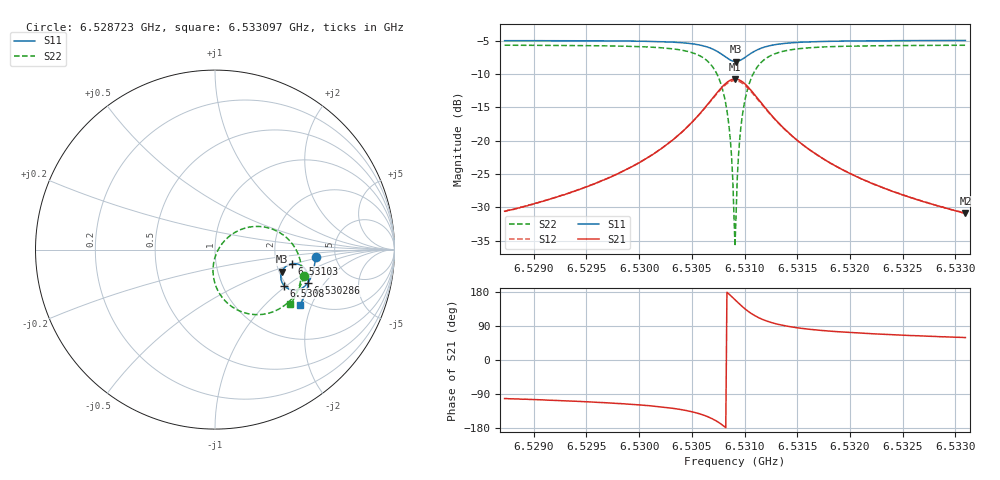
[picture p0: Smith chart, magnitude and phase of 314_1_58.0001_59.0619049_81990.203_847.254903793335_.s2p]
#  HZ  S  RI  R  50.00
! Rohde & Schwarz Vector Network Analyzer
! Rohde-Schwarz,ZNB20-2Port,1311601062101988,3.16
! Created: UTC 3/21/2024, 1:04:18 AM
! freq[Hz]  re:S11  im:S11  re:S21  im:S21  re:S12  im:S12  re:S22  im:S22
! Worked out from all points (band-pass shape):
!   401 points, 6.528723 GHz to 6.533097 GHz, reference 50 ohm
!   highest |S21| = -10.76 dB at 6.53091 GHz (marker M1); lowest = -30.8 dB at 6.533097 GHz (marker M2)
!   |S21| within 3 dB of the highest: 6.530691 GHz to 6.531129 GHz (438.1 kHz wide, 0.00671 % of centre)
!   lowest |S11| = -8.1 dB at 6.530921 GHz (marker M3), VSWR 2.29, Z = 103 - j30.1 ohm
!   |S11| at or under -10 dB: nowhere
!   |S22| runs from -35.8 to -5.7 dB; largest |S21 - S12| = 0.011
!   S11 on the Smith chart (normalised r, x): 6.528723 GHz: 3.50, -0.44; 6.530286 GHz: 2.60, -1.39; 6.5308 GHz: 1.94, -0.96; 6.53103 GHz: 2.43, -0.47; 6.533097 GHz: 1.84, -1.65
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6.5287228e9  0.56 -0.0431  -0.006 -0.029  -0.00652 -0.0287  0.4975 -0.1482
6.5294554e9  0.5512 -0.1035  -0.0146 -0.0412  -0.0156 -0.041  0.4691 -0.2148
6.530188e9  0.5245 -0.1746  -0.0464 -0.071  -0.0483 -0.0699  0.3924 -0.3075
6.5302864e9  0.5168 -0.186  -0.0572 -0.0779  -0.0594 -0.0763  0.3692 -0.3237
6.5306363e9  0.4536 -0.2255  -0.154 -0.0961  -0.1562 -0.0902  0.1856 -0.3574
6.5307347e9  0.4145 -0.2211  -0.2146 -0.0725  -0.2142 -0.0638  0.0821 -0.3091
6.5308003e9  0.3854 -0.201  -0.2576 -0.0281  -0.2536 -0.0186  0.0152 -0.2273
6.5308332e9  0.3738 -0.1838  -0.2734 0.00602  -0.2671 0.0145  -0.00557 -0.168
6.530855e9  0.3687 -0.1698  -0.2792 0.0325  -0.2714 0.0401  -0.011 -0.1231
6.5308769e9  0.3665 -0.1545  -0.2801 0.0608  -0.2711 0.0671  -0.00784 -0.0762
6.5308878e9  0.3667 -0.1465  -0.2783 0.0753  -0.269 0.0808  -0.00268 -0.0526
6.5308988e9  0.3677 -0.1386  -0.2752 0.0898  -0.2655 0.0943  0.00481 -0.0296
6.5309097e9  0.3696 -0.1308  -0.2706 0.1038  -0.2609 0.1075  0.0145 -0.00715
6.5309206e9  0.3721 -0.1232  -0.2647 0.1173  -0.2549 0.12  0.0265 0.0141
6.5309644e9  0.39 -0.0975  -0.2296 0.1628  -0.2208 0.1625  0.0915 0.0832
6.5309972e9  0.4082 -0.0851  -0.1961 0.1849  -0.1887 0.183  0.1503 0.1142
6.53103e9  0.4273 -0.0787  -0.1616 0.1966  -0.1557 0.1938  0.2095 0.1279
6.5311065e9  0.466 -0.0821  -0.0935 0.1948  -0.0904 0.1921  0.3239 0.1124
6.5312159e9  0.4989 -0.1046  -0.0362 0.1651  -0.0347 0.1636  0.4172 0.0484
6.5316423e9  0.521 -0.1803  0.0138 0.0817  0.0149 0.0814  0.4818 -0.1284
6.5323749e9  0.5011 -0.2529  0.0165 0.0392  0.0173 0.039  0.4546 -0.2435
6.5330966e9  0.4735 -0.306  0.0147 0.0247  0.0151 0.0243  0.4195 -0.3054
